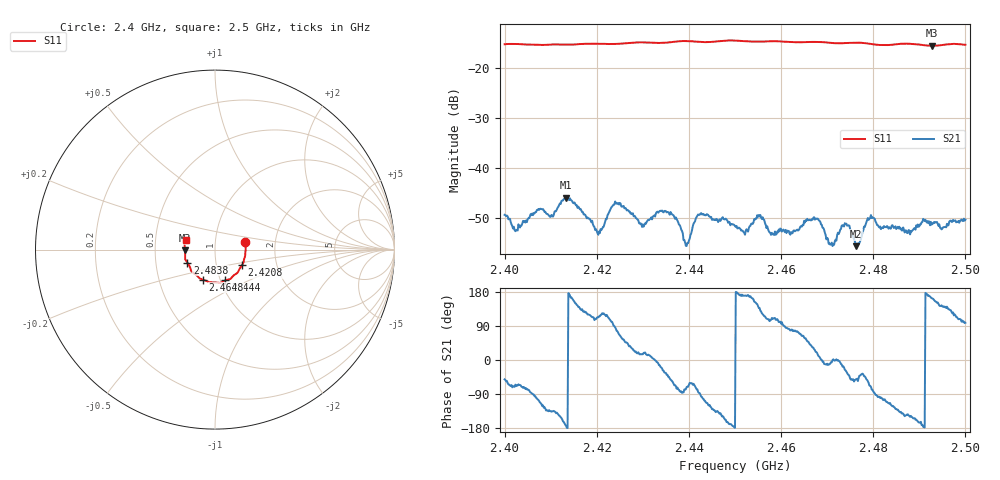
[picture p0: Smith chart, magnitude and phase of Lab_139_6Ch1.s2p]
# Hz S RI R 50
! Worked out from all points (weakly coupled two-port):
!   601 points, 2.4 GHz to 2.5 GHz, reference 50 ohm
!   highest |S21| = -45.86 dB at 2.4133 GHz (marker M1); lowest = -55.5 dB at 2.4763 GHz (marker M2)
!   lowest |S11| = -15.6 dB at 2.4928 GHz (marker M3), VSWR 1.40, Z = 35.8 - j0.34 ohm
!   |S11| at or under -10 dB: start of sweep to end of sweep
!   S12 and S22 are empty: the file has one direction only
!   S11 on the Smith chart (normalised r, x): 2.4 GHz: 1.39, +0.12; 2.4208 GHz: 1.33, -0.24; 2.444 GHz: 1.06, -0.37; 2.4648 GHz: 0.83, -0.29; 2.4838 GHz: 0.73, -0.11; 2.5 GHz: 0.72, +0.08
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2.4e9  0.1669 0.0413  0.00217 -0.00267  0 0  0 0
2.402333e9  0.1708 0.0279  0.000997 -0.00214  0 0  0 0
2.413333e9  0.1643 -0.0471  -0.00506 -0.000564  0 0  0 0
2.416667e9  0.1594 -0.0679  -0.00255 0.0028  0 0  0 0
2.420833e9  0.1504 -0.0869  -0.00119 0.00218  0 0  0 0
2.424167e9  0.139 -0.1039  0.000611 0.00441  0 0  0 0
2.429833e9  0.1248 -0.1291  0.00251 0.000699  0 0  0 0
2.433333e9  0.1075 -0.1409  0.00356 -0.000557  0 0  0 0
2.436833e9  0.092 -0.1573  0.00129 -0.00301  0 0  0 0
2.4395e9  0.0836 -0.165  0.000539 -0.00159  0 0  0 0
2.444e9  0.0579 -0.1713  -0.00139 -0.00318  0 0  0 0
2.45e9  0.0245 -0.1857  -0.00265 -4.97e-05  0 0  0 0
2.464833e9  -0.0685 -0.1669  0.00121 0.00242  0 0  0 0
2.466667e9  -0.0797 -0.1631  0.00253 0.00181  0 0  0 0
2.470833e9  -0.0959 -0.1494  0.00175 -0.000181  0 0  0 0
2.474333e9  -0.118 -0.1319  0.00221 -0.00151  0 0  0 0
2.476333e9  -0.1289 -0.123  0.00106 -0.0013  0 0  0 0
2.479333e9  -0.1361 -0.1078  0.00118 -0.00297  0 0  0 0
2.483333e9  -0.1509 -0.0762  -0.00101 -0.00229  0 0  0 0
2.483833e9  -0.1536 -0.0722  -0.00119 -0.00221  0 0  0 0
2.492833e9  -0.1661 -0.00462  -0.00269 0.000866  0 0  0 0
2.5e9  -0.1618 0.0528  -0.000445 0.00305  0 0  0 0
